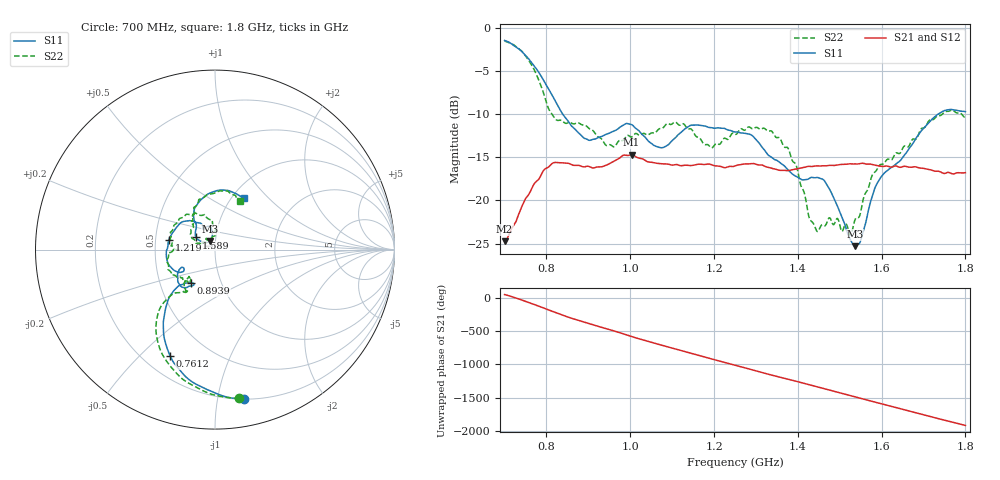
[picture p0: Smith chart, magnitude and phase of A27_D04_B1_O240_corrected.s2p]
! Created with skrf 1.9.0 (http://scikit-rf.org).
# Hz S RI R 50.0
!freq ReS11 ImS11 ReS21 ImS21 ReS12 ImS12 ReS22 ImS22
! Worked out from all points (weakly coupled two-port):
!   1601 points, 700 MHz to 1.8 GHz, reference 50 ohm
!   highest |S21| = -14.69 dB at 1.003 GHz (marker M1); lowest = -24.7 dB at 700 MHz (marker M2)
!   lowest |S11| = -25.3 dB at 1.537 GHz (marker M3), VSWR 1.11, Z = 47.3 + j4.57 ohm
!   |S11| at or under -10 dB: 838.8 MHz to 1.734 GHz (895.5 MHz wide, 69.6 % of centre)
!   |S22| runs from -24.0 to -1.5 dB; largest |S21 - S12| = 0.0033
!   S11 on the Smith chart (normalised r, x): 700 MHz: 0.20, -1.19; 761.2 MHz: 0.31, -0.62; 893.9 MHz: 0.72, -0.28; 1.219 GHz: 0.59, +0.07; 1.589 GHz: 0.80, +0.11; 1.8 GHz: 1.14, +0.73
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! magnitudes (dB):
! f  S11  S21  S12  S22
! 700 MHz  -1.4  -24.7  -24.5  -1.5
! 761.2 MHz  -3.8  -19.0  -18.9  -4.0
! 819.6 MHz  -8.3  -15.6  -15.7  -10.5
! 883.6 MHz  -12.5  -16.0  -15.9  -11.2
! 893.9 MHz  -12.8  -16.1  -16.1  -11.3
! 944.1 MHz  -12.3  -15.9  -15.9  -13.6
! 1.003 GHz  -11.2  -14.7  -14.8  -12.6
! 1.067 GHz  -13.8  -15.7  -15.7  -11.8
! 1.145 GHz  -11.3  -16.0  -16.0  -11.7
! 1.192 GHz  -11.6  -15.8  -15.8  -13.9
! 1.219 GHz  -11.6  -16.1  -16.1  -13.1
! 1.25 GHz  -12.1  -16.0  -15.9  -12.3
! 1.357 GHz  -15.6  -16.5  -16.4  -12.8
! 1.396 GHz  -17.2  -16.4  -16.3  -15.9
! 1.434 GHz  -17.3  -16.1  -16.0  -22.5
! 1.467 GHz  -18.0  -16.0  -16.0  -22.8
! 1.526 GHz  -24.6  -15.8  -15.7  -24.0
! 1.537 GHz  -25.3  -15.8  -15.8  -22.2
! 1.589 GHz  -18.1  -16.0  -15.9  -16.4
! 1.617 GHz  -16.4  -16.1  -16.0  -15.2
! 1.731 GHz  -10.1  -16.6  -16.6  -10.3
! 1.8 GHz  -9.7  -16.8  -16.8  -10.3
